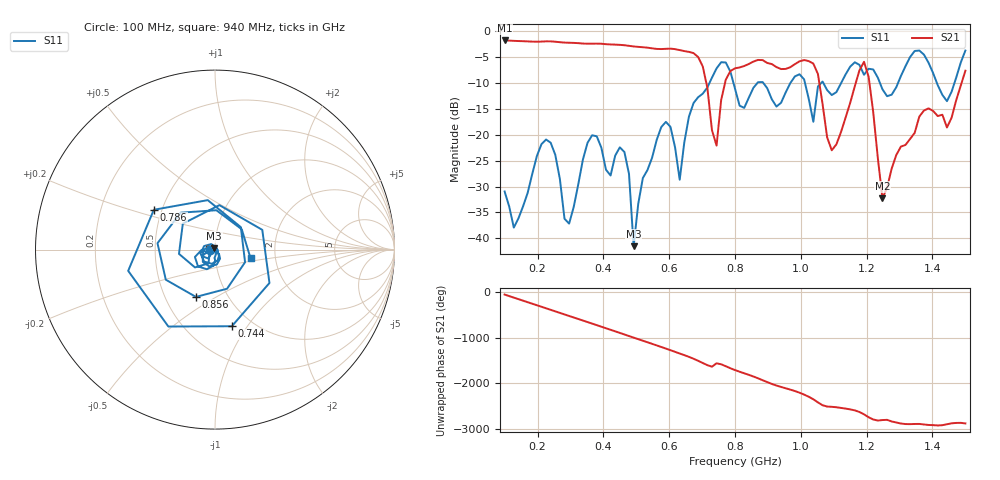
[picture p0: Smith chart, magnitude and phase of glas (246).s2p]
! NanoVNA-App
! Date: 2025-09-25 15:57:23
! Start: 100MHz Stop: 1,5GHz Points: 101
! S-Parameter data: F S11 S21 S12 S22
# Hz S RI R 50
!  Frequency  S11_Real  S11_Imag  S21_Real  S21_Imag  S12_Real  S12_Imag  S22_Real  S22_Imag
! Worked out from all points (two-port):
!   101 points, 100 MHz to 1.5 GHz, reference 50 ohm
!   highest |S21| = -1.80 dB at 100 MHz (marker M1); lowest = -32.3 dB at 1.248 GHz (marker M2)
!   |S21| within 3 dB of the highest: start of sweep to 684.3 MHz
!   lowest |S11| = -41.5 dB at 492 MHz (marker M3), VSWR 1.02, Z = 49.5 + j0.65 ohm
!   |S11| at or under -10 dB: start of sweep to 722.5 MHz; 795.3 MHz to 868.2 MHz (72.85 MHz wide, 8.76 % of centre); 886 MHz to 968.4 MHz (82.39 MHz wide, 8.89 % of centre) (the widest 3 of 7)
!   S12 and S22 are empty: the file has one direction only
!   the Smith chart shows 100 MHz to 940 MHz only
!   S11 on the Smith chart (normalised r, x): 100 MHz: 0.95, -0.01; 744 MHz: 0.81, -0.85; 786 MHz: 0.45, +0.24; 856 MHz: 0.71, -0.41; 940 MHz: 1.48, -0.15
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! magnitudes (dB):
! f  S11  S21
! 100 MHz  -30.9  -1.8
! 128 MHz  -37.9  -1.9
! 226 MHz  -20.9  -2.0
! 296 MHz  -37.1  -2.2
! 338 MHz  -24.8  -2.4
! 464 MHz  -23.3  -2.7
! 492 MHz  -41.5  -3.0
! 576 MHz  -18.5  -3.5
! 632 MHz  -28.7  -3.7
! 702 MHz  -12.1  -6.8
! 744 MHz  -7.2  -22.1
! 786 MHz  -7.8  -7.7
! 800 MHz  -11.1  -7.2
! 856 MHz  -10.9  -5.9
! 940 MHz  -13.8  -7.3
! 1.038 GHz  -17.5  -6.3
! 1.094 GHz  -12.3  -23.0
! 1.192 GHz  -8.4  -5.9
! 1.248 GHz  -11.2  -32.3
! 1.276 GHz  -12.3  -26.5
! 1.444 GHz  -13.5  -18.6
! 1.5 GHz  -3.7  -7.6
